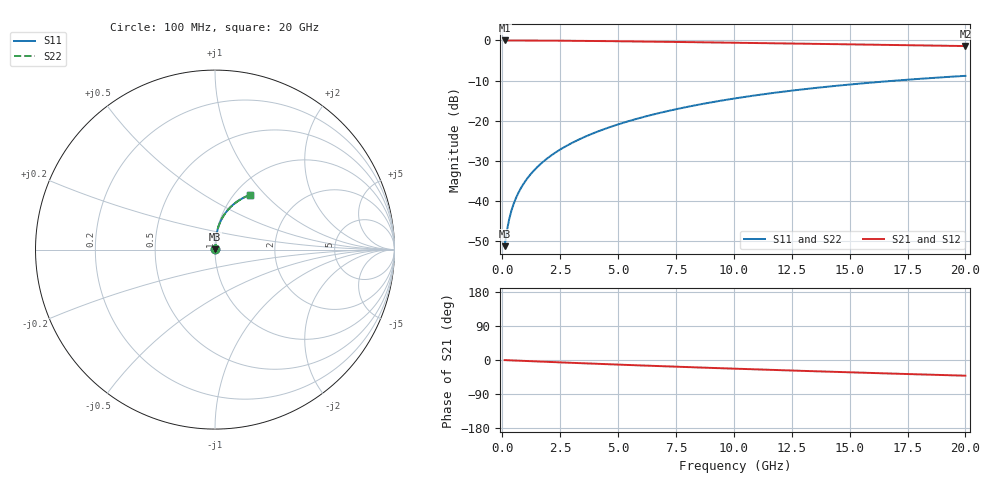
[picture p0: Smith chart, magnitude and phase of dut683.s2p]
! Touchstone file exported from HFSS 2024.1.0
!  File:  C:/UserFiles/LocalFiles/RDL_TSV_Batchsim/temp_RDL_bottom_683_1779786681.aedt
!  Generated:  05:13:36 PM May 26, 2026
!  Design:  RDL_bottom
!  Project:  temp_RDL_bottom_683_1779786681
!  Setup:  Setup1
!  Solution:  Sweep
! Variables:
!  dtsv = 10.80580581um
!  hbump = 3um
!  htsv = 97.48um
!  ldown = 587.94um
!  lrdl = 100um
!  p = 40
!  p1 = 53.88um
!  rhole = 1um
!  t = 450um
!  tdown = 4.97um
!  trdl = 3.915915916um
!  wdown = 23um
!  wrdl = 20um
# GHz S MA R 50.000000
! Terminal data exported
! Port[1] = RDL1_T1
! Port[2] = RDL1_T2
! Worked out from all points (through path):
!   200 points, 100 MHz to 20 GHz, reference 50 ohm
!   highest |S21| = -0.02 dB at 100 MHz (marker M1); lowest = -1.4 dB at 20 GHz (marker M2)
!   group delay of S21, straight-line fit = 5.7 ps
!   lowest |S11| = -51.2 dB at 100 MHz (marker M3), VSWR 1.01, Z = 50.2 + j0.192 ohm
!   |S11| at or under -10 dB: start of sweep to 16.99 GHz
!   |S22| runs from -51.2 to -8.8 dB; largest |S21 - S12| = 3.4e-15
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0.1  0.00276 43.8  0.998 -0.3  0.998 -0.3  0.00276 43.8
! Gamma 0 0 0 0
! Port Impedance 50 0 50 0
0.2  0.004324 61.0  0.9979 -0.5  0.9979 -0.5  0.004324 61.0
0.3  0.006025 68.3  0.9977 -0.8  0.9977 -0.8  0.006025 68.3
0.4  0.007734 72.2  0.9975 -1.0  0.9975 -1.0  0.007734 72.2
0.5  0.009431 74.7  0.9973 -1.3  0.9973 -1.3  0.009431 74.7
0.7  0.0128 77.9  0.997 -1.8  0.997 -1.8  0.0128 77.9
0.8  0.01448 79.0  0.9968 -2.0  0.9968 -2.0  0.01448 79.0
1  0.01786 80.6  0.9964 -2.5  0.9964 -2.5  0.01786 80.6
1.4  0.02468 82.7  0.9953 -3.5  0.9953 -3.5  0.02468 82.7
1.7  0.02986 83.6  0.9944 -4.3  0.9944 -4.3  0.02986 83.6
2  0.03509 84.2  0.9933 -5.0  0.9933 -5.0  0.03509 84.2
2.7  0.04749 84.9  0.9902 -6.7  0.9902 -6.7  0.0475 84.9
3.5  0.06201 84.9  0.9858 -8.7  0.9858 -8.7  0.06202 85.0
4.2  0.07502 84.7  0.9814 -10.3  0.9814 -10.3  0.07503 84.7
5  0.09021 84.0  0.9758 -12.2  0.9758 -12.2  0.09022 84.0
6.8  0.1254 81.8  0.962 -16.2  0.962 -16.2  0.1254 81.8
8.4  0.1572 79.3  0.949 -19.6  0.949 -19.6  0.1572 79.3
10.1  0.1909 76.2  0.9347 -23.1  0.9347 -23.1  0.191 76.2
11.7  0.222 73.1  0.9211 -26.2  0.9211 -26.2  0.2221 73.1
13.4  0.2539 69.7  0.9065 -29.5  0.9065 -29.5  0.254 69.7
16.7  0.3114 63.3  0.8782 -35.6  0.8782 -35.6  0.3115 63.3
20  0.3623 57.2  0.8502 -41.4  0.8502 -41.4  0.3624 57.2
